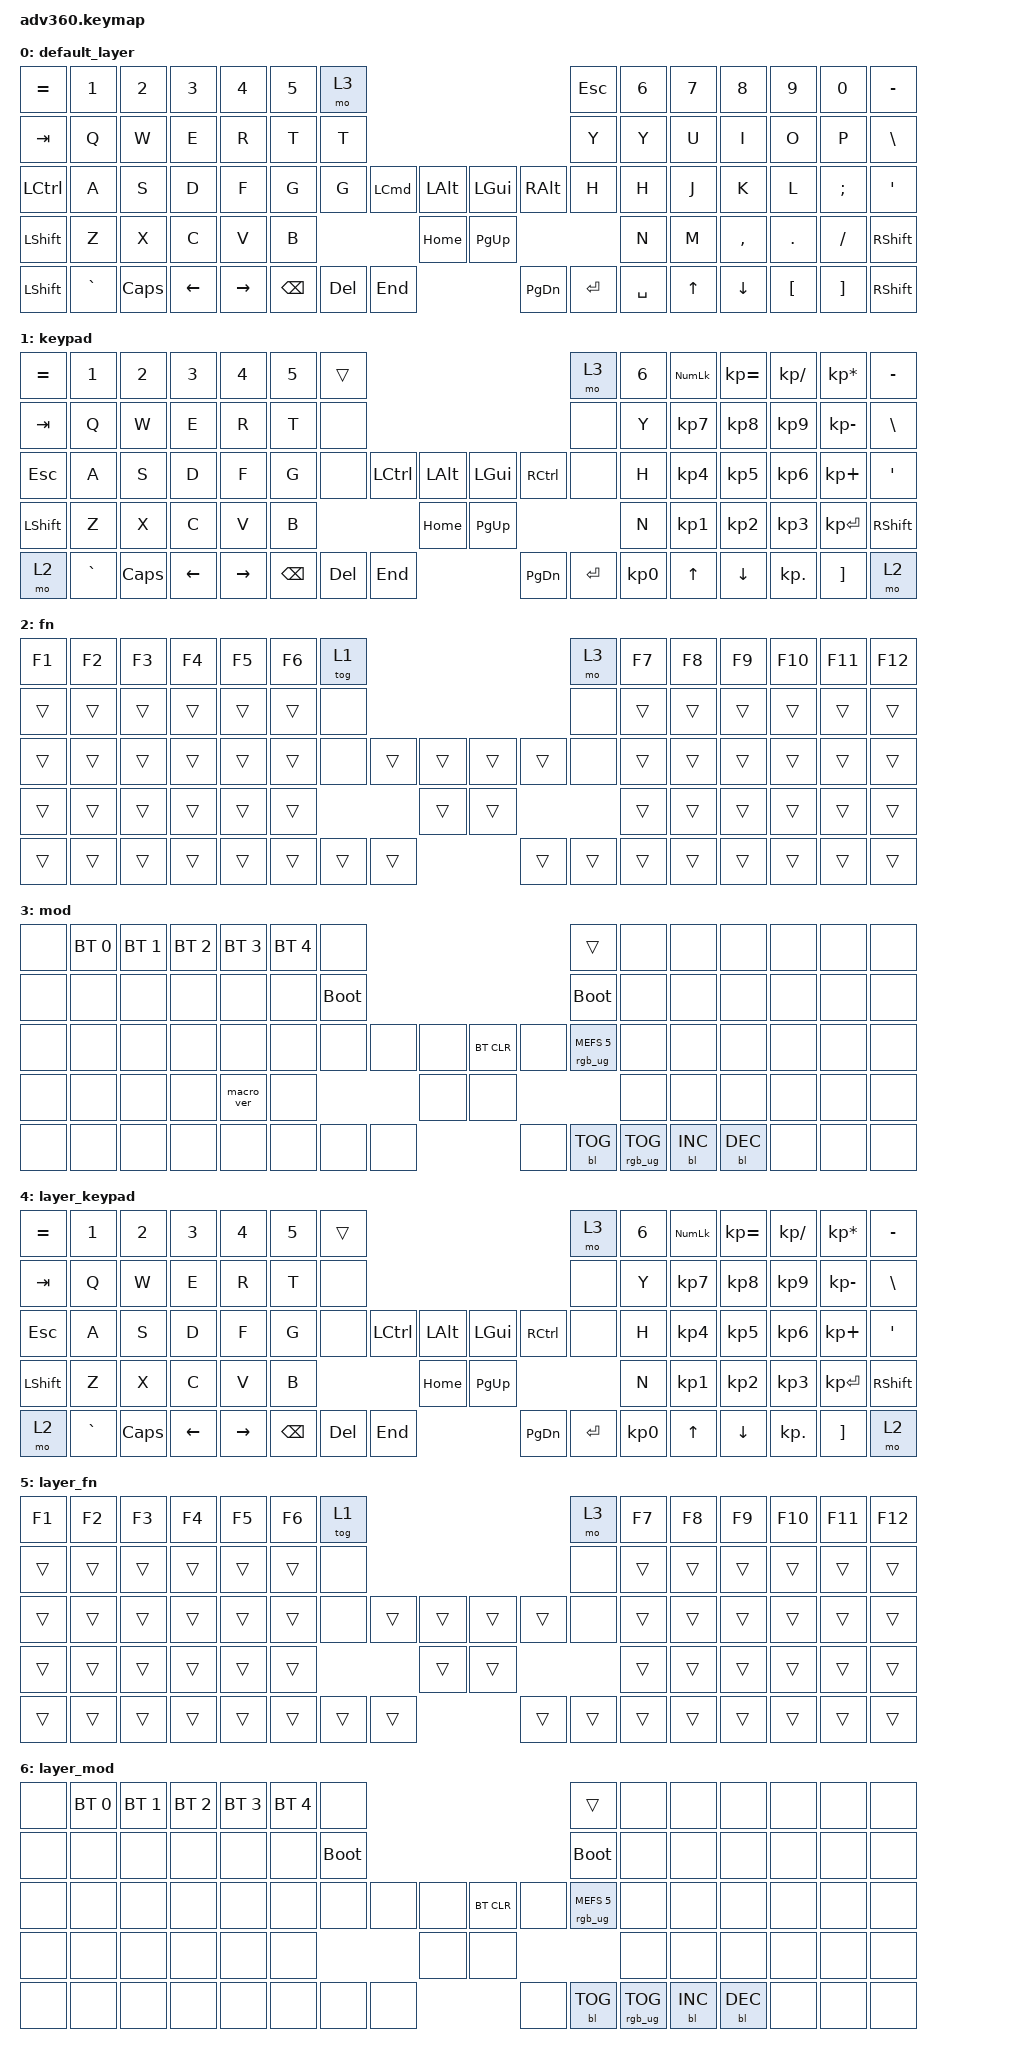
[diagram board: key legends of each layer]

/*
 * Copyright (c) 2020 The ZMK Contributors
 *
 * SPDX-License-Identifier: MIT
 */


/* THIS FILE WAS GENERATED!
 *
 * This file was generated automatically. You may or may not want to
 * edit it directly.
 */

#include <behaviors.dtsi>
#include <dt-bindings/zmk/keys.h>
#include <dt-bindings/zmk/bt.h>
#include <dt-bindings/zmk/rgb.h>
#include <dt-bindings/zmk/backlight.h>

/ {
    behaviors {
      #include "macros.dtsi"
      #include "version.dtsi"
      #ifndef VERSION_MACRO
      macro_ver: macro_ver {
        compatible = "zmk,behavior-macro";
        label = "macro_version";
        #binding-cells = <0>;
        bindings = <&kp RET>;
      };
      #endif

      hm: homerow_mods {
          compatible = "zmk,behavior-hold-tap";
          label = "HOMEROW_MODS";
          #binding-cells = <2>;
          tapping-term-ms = <200>;
          quick_tap_ms = <175>;
          flavor = "tap-preferred";
          bindings = <&kp>, <&kp>;
      };
    };

  keymap {
    compatible = "zmk,keymap";

    default_layer {
      bindings = <
        &kp EQUAL &kp N1    &kp N2   &kp N3   &kp N4     &kp N5 &tog 1                                                           &mo 3 &kp N6 &kp N7 &kp N8    &kp N9   &kp N0   &kp MINUS
        &kp TAB   &kp Q     &kp W    &kp E    &kp R      &kp T  &none                                                            &none &kp Y  &kp U  &kp I     &kp O    &kp P    &kp BSLH
        &kp ESC   &kp A     &kp S    &kp D    &kp F      &kp G  &none           &kp LCTRL &kp LALT &kp LGUI  &kp RCTRL           &none &kp H  &kp J  &kp K     &kp L    &kp SEMI &kp SQT
        &kp LSHFT &kp Z     &kp X    &kp C    &kp V      &kp B                            &kp HOME &kp PG_UP                           &kp N  &kp M  &kp COMMA &kp DOT  &kp FSLH &kp RSHFT
        &mo 2     &kp GRAVE &kp CAPS &kp LEFT &kp RIGHT                &kp BSPC &kp DEL   &kp END  &kp PG_DN &kp ENTER &kp SPACE              &kp UP &kp DOWN  &kp LBKT &kp RBKT &mo 2
      >;
    };
    keypad {
      bindings = <
        &kp EQUAL &kp N1    &kp N2   &kp N3   &kp N4     &kp N5 &trans                                                           &mo 3 &kp N6 &kp KP_NUM &kp KP_EQUAL &kp KP_DIVIDE &kp KP_MULTIPLY &kp MINUS
        &kp TAB   &kp Q     &kp W    &kp E    &kp R      &kp T  &none                                                            &none &kp Y  &kp KP_N7  &kp KP_N8    &kp KP_N9     &kp KP_MINUS    &kp BSLH
        &kp ESC   &kp A     &kp S    &kp D    &kp F      &kp G  &none           &kp LCTRL &kp LALT &kp LGUI  &kp RCTRL           &none &kp H  &kp KP_N4  &kp KP_N5    &kp KP_N6     &kp KP_PLUS     &kp SQT
        &kp LSHFT &kp Z     &kp X    &kp C    &kp V      &kp B                            &kp HOME &kp PG_UP                           &kp N  &kp KP_N1  &kp KP_N2    &kp KP_N3     &kp KP_ENTER    &kp RSHFT
        &mo 2     &kp GRAVE &kp CAPS &kp LEFT &kp RIGHT                &kp BSPC &kp DEL   &kp END  &kp PG_DN &kp ENTER &kp KP_N0              &kp UP     &kp DOWN     &kp KP_DOT    &kp RBKT        &mo 2
      >;
    };
    fn {
      bindings = <
        &kp F1 &kp F2 &kp F3 &kp F4 &kp F5 &kp F6 &tog 1                                           &mo 3 &kp F7 &kp F8 &kp F9 &kp F10 &kp F11 &kp F12
        &trans &trans &trans &trans &trans &trans  &none                                           &none &trans &trans &trans &trans  &trans  &trans
        &trans &trans &trans &trans &trans &trans  &none        &trans &trans &trans &trans        &none &trans &trans &trans &trans  &trans  &trans
        &trans &trans &trans &trans &trans &trans                      &trans &trans                     &trans &trans &trans &trans  &trans  &trans
        &trans &trans &trans &trans &trans               &trans &trans &trans &trans &trans &trans              &trans &trans &trans  &trans  &trans
      >;
    };
    mod {
      bindings = <
        &none &bt BT_SEL 0 &bt BT_SEL 1 &bt BT_SEL 2 &bt BT_SEL 3 &bt BT_SEL 4 &none                                                                     &trans                 &none        &none        &none        &none &none &none
        &none &none        &none        &none        &none        &none        &bootloader                                                               &bootloader            &none        &none        &none        &none &none &none
        &none &none        &none        &none        &none        &none        &none                   &none &none &bt BT_CLR &none                      &rgb_ug RGB_MEFS_CMD 5 &none        &none        &none        &none &none &none
        &none &none        &none        &none        &macro_ver   &none                                      &none &none                                                        &none        &none        &none        &none &none &none
        &none &none        &none        &none        &none                                       &none &none &none &none      &bl BL_TOG &rgb_ug RGB_TOG                                     &bl BL_INC   &bl BL_DEC   &none &none &none
      >;
    };
  };

    keymap {
        compatible = "zmk,keymap";


        default_layer {
            bindings = <
      &kp EQUAL     &kp N1    &kp N2    &kp N3     &kp N4  &kp N5               &mo 3                                                                              &kp ESC  &kp N6  &kp N7     &kp N8    &kp N9    &kp N0        &kp MINUS
        &kp TAB      &kp Q     &kp W     &kp E      &kp R   &kp T               &kp T                                                                                &kp Y   &kp Y   &kp U      &kp I     &kp O     &kp P         &kp BSLH
      &kp LCTRL      &kp A     &kp S     &kp D      &kp F   &kp G               &kp G  &kp LEFT_COMMAND  &kp LEFT_ALT                   &kp LGUI  &kp RIGHT_ALT      &kp H   &kp H   &kp J      &kp K     &kp L  &kp SEMI          &kp SQT
      &kp LSHFT      &kp Z     &kp X     &kp C      &kp V   &kp B                                            &kp HOME                  &kp PG_UP                             &kp N   &kp M  &kp COMMA   &kp DOT  &kp FSLH        &kp RSHFT
 &kp LEFT_SHIFT  &kp GRAVE  &kp CAPS  &kp LEFT  &kp RIGHT                    &kp BSPC           &kp DEL       &kp END                  &kp PG_DN      &kp ENTER  &kp SPACE          &kp UP   &kp DOWN  &kp LBKT  &kp RBKT  &kp RIGHT_SHIFT
            >;
        };

        layer_keypad {
            bindings = <
 &kp EQUAL     &kp N1    &kp N2    &kp N3     &kp N4  &kp N5              &trans                                                                 &mo 3  &kp N6  &kp KP_NUM  &kp KP_EQUAL  &kp KP_DIVIDE  &kp KP_MULTIPLY  &kp MINUS
   &kp TAB      &kp Q     &kp W     &kp E      &kp R   &kp T               &none                                                                 &none   &kp Y   &kp KP_N7     &kp KP_N8      &kp KP_N9     &kp KP_MINUS   &kp BSLH
   &kp ESC      &kp A     &kp S     &kp D      &kp F   &kp G               &none  &kp LCTRL  &kp LALT                   &kp LGUI  &kp RCTRL      &none   &kp H   &kp KP_N4     &kp KP_N5      &kp KP_N6      &kp KP_PLUS    &kp SQT
 &kp LSHFT      &kp Z     &kp X     &kp C      &kp V   &kp B                                 &kp HOME                  &kp PG_UP                         &kp N   &kp KP_N1     &kp KP_N2      &kp KP_N3     &kp KP_ENTER  &kp RSHFT
     &mo 2  &kp GRAVE  &kp CAPS  &kp LEFT  &kp RIGHT                    &kp BSPC    &kp DEL   &kp END                  &kp PG_DN  &kp ENTER  &kp KP_N0              &kp UP      &kp DOWN     &kp KP_DOT         &kp RBKT      &mo 2
            >;
        };

        layer_fn {
            bindings = <
 &kp F1  &kp F2  &kp F3  &kp F4  &kp F5  &kp F6            &tog 1                                                   &mo 3  &kp F7  &kp F8  &kp F9  &kp F10  &kp F11  &kp F12
 &trans  &trans  &trans  &trans  &trans  &trans             &none                                                   &none  &trans  &trans  &trans   &trans   &trans   &trans
 &trans  &trans  &trans  &trans  &trans  &trans             &none  &trans  &trans                  &trans  &trans   &none  &trans  &trans  &trans   &trans   &trans   &trans
 &trans  &trans  &trans  &trans  &trans  &trans                            &trans                  &trans                  &trans  &trans  &trans   &trans   &trans   &trans
 &trans  &trans  &trans  &trans  &trans                    &trans  &trans  &trans                  &trans  &trans  &trans          &trans  &trans   &trans   &trans   &trans
            >;
        };

        layer_mod {
            bindings = <
  &none  &bt BT_SEL 0  &bt BT_SEL 1  &bt BT_SEL 2  &bt BT_SEL 3  &bt BT_SEL 4                  &none                                                                          &trans   &none       &none       &none   &none   &none   &none
  &none         &none         &none         &none         &none         &none            &bootloader                                                                     &bootloader   &none       &none       &none   &none   &none   &none
  &none         &none         &none         &none         &none         &none                  &none   &none   &none                  &bt BT_CLR       &none  &rgb_ug RGB_MEFS_CMD 5   &none       &none       &none   &none   &none   &none
  &none         &none         &none         &none         &none         &none                                  &none                       &none                                       &none       &none       &none   &none   &none   &none
  &none         &none         &none         &none         &none                                &none   &none   &none                       &none  &bl BL_TOG         &rgb_ug RGB_TOG          &bl BL_INC  &bl BL_DEC   &none   &none   &none
            >;
        };

    };
};
